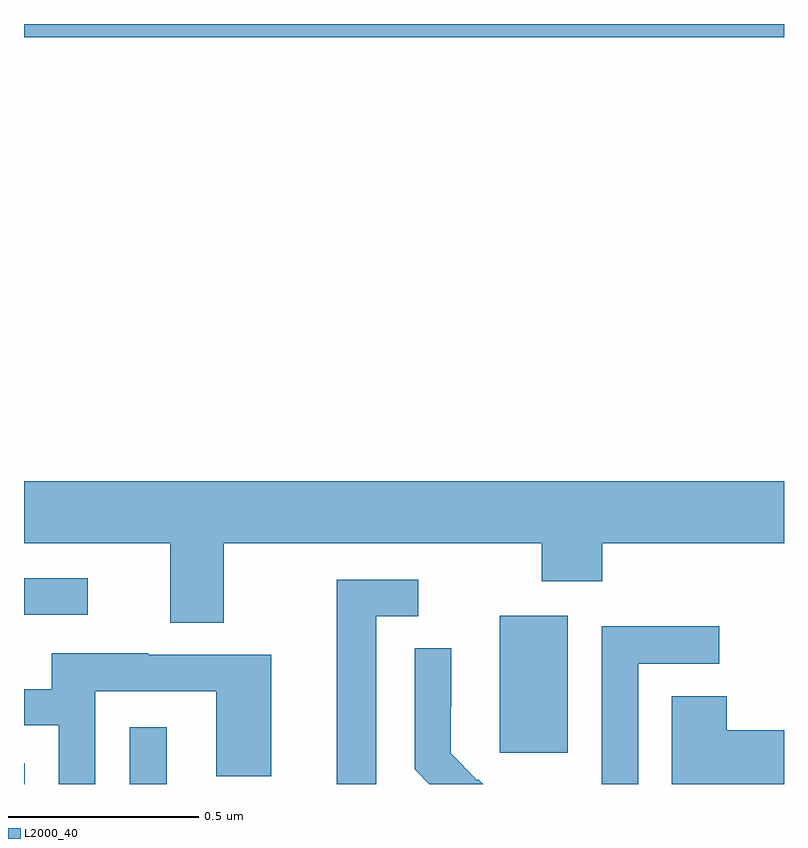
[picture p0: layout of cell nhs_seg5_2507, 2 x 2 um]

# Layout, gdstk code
import gdstk
lib = gdstk.Library(unit=1e-6, precision=1e-09)
def R(c, l, rs):  # rectangles x0, y0, x1, y1
    for r in rs: c.add(gdstk.rectangle(r[:2], r[2:], *l))
def P(c, l, *ps):  # polygons
    for p in ps: c.add(gdstk.Polygon(p, *l))
L2000_40 = (2000, 40)

nhs_seg5_2507 = lib.new_cell('nhs_seg5_2507')
R(nhs_seg5_2507, L2000_40, [(145,850.799,145.002,850.854), (145.278,850.799,145.375,850.948), (146.252,850.881,146.431,851.242), (145,851.244,145.168,851.34), (145,852.764,147,852.799)])
P(nhs_seg5_2507, L2000_40, [(145.525,851.432),(146.362,851.432),(146.362,851.333),(146.522,851.333),(146.522,851.432),(147,851.432),(147,851.596),(145,851.596),(145,851.432),(145.385,851.432),(145.385,851.224),(145.525,851.224)],
  [(145.927,851.241),(146.038,851.241),(146.038,851.337),(145.823,851.337),(145.823,850.799),(145.927,850.799)],
  [(146.616,851.115),(146.83,851.115),(146.83,851.214),(146.52,851.214),(146.52,850.799),(146.616,850.799)],
  [(146.196,850.812),(146.193,850.809),(146.123,850.88),(146.123,851.002),(146.124,851.002),(146.124,851.156),(146.028,851.156),(146.028,850.838),(146.067,850.799),(146.209,850.799)],
  [(145.188,851.043),(145.506,851.043),(145.506,850.819),(145.651,850.819),(145.651,851.139),(145.327,851.139),(145.327,851.143),(145.073,851.143),(145.073,851.049),(145,851.049),(145,850.953),(145.092,850.953),(145.092,850.799),(145.188,850.799)],
  [(147,850.94),(146.849,850.94),(146.849,851.03),(146.705,851.03),(146.705,850.799),(147,850.799)])

lib.write_gds('nhs_seg5_2507.gds')
